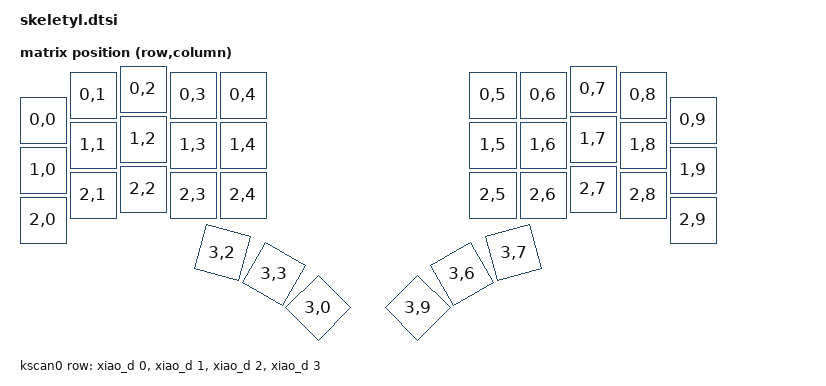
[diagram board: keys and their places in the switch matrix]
#include <dt-bindings/zmk/matrix_transform.h>
#include <physical_layouts.dtsi>

/ {
    chosen {
        zmk,kscan = &kscan0;
        zmk,physical-layout = &default_layout;
    };

    default_transform: keymap_transform_0 {
        compatible = "zmk,matrix-transform";
        columns = <10>;
        rows = <4>;
        map = <
                RC(0,0) RC(0,1) RC(0,2) RC(0,3) RC(0,4)    RC(0,5) RC(0,6) RC(0,7) RC(0,8) RC(0,9)
                RC(1,0) RC(1,1) RC(1,2) RC(1,3) RC(1,4)    RC(1,5) RC(1,6) RC(1,7) RC(1,8) RC(1,9)
                RC(2,0) RC(2,1) RC(2,2) RC(2,3) RC(2,4)    RC(2,5) RC(2,6) RC(2,7) RC(2,8) RC(2,9)
                RC(3,0)         RC(3,2) RC(3,3)                    RC(3,6) RC(3,7)         RC(3,9)
        >;
    };
 
    kscan0: kscan_0 {
        compatible = "zmk,kscan-gpio-matrix";
        diode-direction = "col2row";
        row-gpios
            = <&xiao_d 0 (GPIO_ACTIVE_HIGH | GPIO_PULL_DOWN)>
            , <&xiao_d 1 (GPIO_ACTIVE_HIGH | GPIO_PULL_DOWN)>
            , <&xiao_d 2 (GPIO_ACTIVE_HIGH | GPIO_PULL_DOWN)>
            , <&xiao_d 3 (GPIO_ACTIVE_HIGH | GPIO_PULL_DOWN)>
            ;
    };

    default_layout: default_layout {
        compatible = "zmk,physical-layout";
        display-name = "Skeletyl-BT";

        transform = <&default_transform>;
        // https://zmk-physical-layout-converter.streamlit.app/
        keys  //                     w   h    x    y     rot    rx    ry
            = <&key_physical_attrs 100 100    0   62       0     0     0>
            , <&key_physical_attrs 100 100  100   12       0     0     0>
            , <&key_physical_attrs 100 100  200    0       0     0     0>
            , <&key_physical_attrs 100 100  300   12       0     0     0>
            , <&key_physical_attrs 100 100  400   12       0     0     0>
            , <&key_physical_attrs 100 100  900   12       0     0     0>
            , <&key_physical_attrs 100 100 1000   12       0     0     0>
            , <&key_physical_attrs 100 100 1100    0       0     0     0>
            , <&key_physical_attrs 100 100 1200   12       0     0     0>
            , <&key_physical_attrs 100 100 1300   62       0     0     0>
            , <&key_physical_attrs 100 100    0  162       0     0     0>
            , <&key_physical_attrs 100 100  100  112       0     0     0>
            , <&key_physical_attrs 100 100  200  100       0     0     0>
            , <&key_physical_attrs 100 100  300  112       0     0     0>
            , <&key_physical_attrs 100 100  400  112       0     0     0>
            , <&key_physical_attrs 100 100  900  112       0     0     0>
            , <&key_physical_attrs 100 100 1000  112       0     0     0>
            , <&key_physical_attrs 100 100 1100  100       0     0     0>
            , <&key_physical_attrs 100 100 1200  112       0     0     0>
            , <&key_physical_attrs 100 100 1300  162       0     0     0>
            , <&key_physical_attrs 100 100    0  262       0     0     0>
            , <&key_physical_attrs 100 100  100  212       0     0     0>
            , <&key_physical_attrs 100 100  200  200       0     0     0>
            , <&key_physical_attrs 100 100  300  212       0     0     0>
            , <&key_physical_attrs 100 100  400  212       0     0     0>
            , <&key_physical_attrs 100 100  900  212       0     0     0>
            , <&key_physical_attrs 100 100 1000  212       0     0     0>
            , <&key_physical_attrs 100 100 1100  200       0     0     0>
            , <&key_physical_attrs 100 100 1200  212       0     0     0>
            , <&key_physical_attrs 100 100 1300  262       0     0     0>
            , <&key_physical_attrs 100 100  248  312    4500   298   790>
            , <&key_physical_attrs 100 100  248  312    1500   298   790>
            , <&key_physical_attrs 100 100  248  312    3000   298   790>
            , <&key_physical_attrs 100 100 1052  312 (-3000)  1102   790>
            , <&key_physical_attrs 100 100 1052  312 (-1500)  1102   790>
            , <&key_physical_attrs 100 100 1052  312 (-4500)  1102   790>
            ;
    };
};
